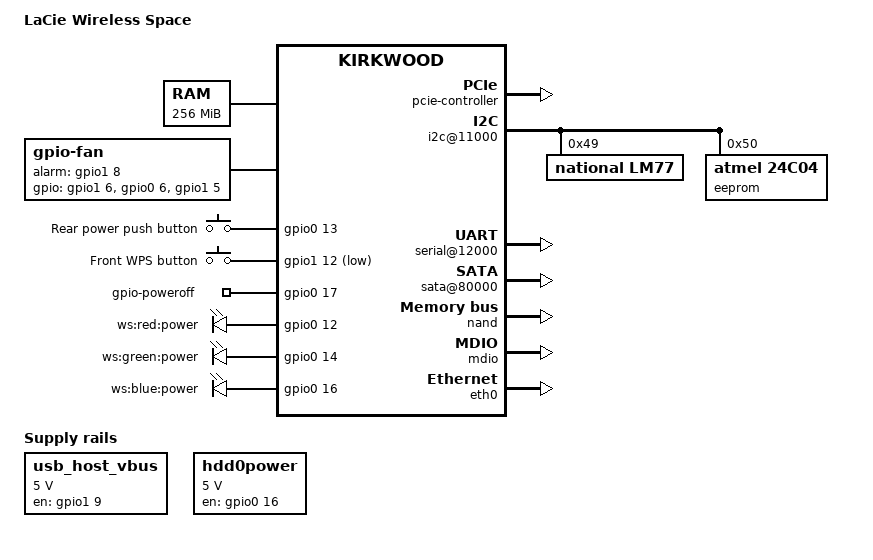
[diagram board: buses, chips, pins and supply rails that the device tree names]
/*
 * Device Tree file for LaCie Wireless Space
 *
 * Copyright (C) 2014
 *
 * Maxime Hadjinlian <maxime.hadjinlian@gmail.com>
 *
 * This file is licensed under the terms of the GNU General Public
 * License version 2.  This program is licensed "as is" without any
 * warranty of any kind, whether express or implied.
*/

/dts-v1/;

#include "kirkwood.dtsi"
#include "kirkwood-6281.dtsi"
#include <dt-bindings/input/input.h>
#include <dt-bindings/gpio/gpio.h>

/ {
	model = "LaCie Wireless Space";
	compatible = "lacie,wireless-space", "marvell,kirkwood-88f6281", "marvell,kirkwood";

	memory {
		device_type = "memory";
		reg = <0x00000000 0x10000000>; /* 256MB */
	};

	chosen {
		bootargs = "console=ttyS0,115200n8";
		stdout-path = &uart0;
	};

	mbus {
		pcie-controller {
			status = "okay";
			pcie@1,0 {
				status = "okay";
			};
		};
	};

	ocp@f1000000 {
		i2c@11000 {
			/*
			 * i2c addr | chip	 | description
			 * 0x49     | LM77CIM-3    | temperature sensor
			 * 0x50     | HT24LC04     | eeprom (512B)
			 */
			status = "okay";

			lm77@49 {
				compatible = "national,lm77";
				reg = <0x49>;
			};

			eeprom@50 {
				compatible = "atmel,24c04";
				pagesize = <16>;
				reg = <0x50>;
			};
		};

		serial@12000 {
			status = "okay";
		};

		sata@80000 {
			status = "okay";
			nr-ports = <1>;
		};

		gpio-fan {
			status = "okay";
			compatible = "gpio-fan";
			pinctrl-0 = <&pmx_fanctrl_37 &pmx_fanctrl_7 &pmx_fanctrl_36
				     &pmx_fanalarm_39>;
			pinctrl-names = "default";
			alarm-gpios = <&gpio1 8 GPIO_ACTIVE_HIGH>;
			gpios = <&gpio1 6 GPIO_ACTIVE_HIGH
				 &gpio0 6 GPIO_ACTIVE_HIGH
				 &gpio1 5 GPIO_ACTIVE_HIGH>;
			gpio-fan,speed-map = <    0 0
					       1220 1
					       1325 2
					       1700 4
					       2000 3
					       3200 5
					       3800 6
					       4900 7
					       5400 8 >;
		};

		pinctrl: pin-controller@10000 {
			pmx_usb_power_enable: pmx-usb-power-enable {
				marvell,pins = "mpp14";
				marvell,function = "gpio";
			};
			pmx_fanctrl_7: pmx-fanctrl-7 {
				marvell,pins = "mpp7";
				marvell,function = "gpio";
			};
			pmx_fanctrl_36: pmx-fanctrl-36 {
				marvell,pins = "mpp36";
				marvell,function = "gpio";
			};
			pmx_fanctrl_37: pmx-fanctrl-37 {
				marvell,pins = "mpp37";
				marvell,function = "gpio";
			};
			pmx_fanalarm_39: pmx-fanalarm-39 {
				marvell,pins = "mpp39";
				marvell,function = "gpio";
			};
		};
	};

	dsa@0 {
		compatible = "marvell,dsa";
		#address-cells = <2>;
		#size-cells = <0>;

		dsa,ethernet = <&eth0port>;
		dsa,mii-bus = <&mdio>;

		switch@0 {
			#address-cells = <1>;
			#size-cells = <0>;
			reg = <0 0>; /* MDIO address 0, switch 0 in tree */

			port@0 {
				reg = <0>;
				label = "lan1";
			};

			port@1 {
				reg = <1>;
				label = "lan2";
			};

			port@2 {
				reg = <2>;
				label = "lan3";
			};

			port@3 {
				reg = <3>;
				label = "lan4";
			};

			port@4 {
				reg = <4>;
				label = "cpu";
			};
		};
	};

	gpio-keys {
		compatible = "gpio-keys";
		#address-cells = <1>;
		#size-cells = <0>;

		button@0 {
			label = "Rear power push button";
			linux,code = <KEY_POWER>;
			gpios = <&gpio0 13 GPIO_ACTIVE_HIGH>;
			debounce-interval = <5>;
		};
		button@1{
			label = "Front WPS button";
			linux,code = <KEY_WLAN>;
			gpios = <&gpio1 12 GPIO_ACTIVE_LOW>;
			debounce-interval = <5>;
		};

	};

	gpio-poweroff {
		compatible = "gpio-poweroff";
		gpios = <&gpio0 17 GPIO_ACTIVE_HIGH>;
	};

	gpio-leds {
		compatible = "gpio-leds";

		red-front {
			label = "ws:red:power";
			gpios = <&gpio0 12 GPIO_ACTIVE_HIGH>;
		};
		green-front {
			label = "ws:green:power";
			gpios = <&gpio0 14 GPIO_ACTIVE_HIGH>;
			linux,default-trigger = "ide-disk";
		};
		blue-front {
			label = "ws:blue:power";
			gpios = <&gpio0 16 GPIO_ACTIVE_HIGH>;
			linux,default-trigger = "ide-disk";
		};

	};

	regulators {
		compatible = "simple-bus";
		#address-cells = <1>;
		#size-cells = <0>;
		pinctrl-0 = <&pmx_usb_power_enable>;
		pinctrl-names = "default";

		usb_host_vbus: regulator@1 {
			compatible = "regulator-fixed";
			reg = <1>;
			regulator-name = "USB Host Vbus";
			regulator-min-microvolt = <5000000>;
			regulator-max-microvolt = <5000000>;
			enable-active-high;
			regulator-always-on;
			regulator-boot-on;
			gpio = <&gpio1 9 GPIO_ACTIVE_HIGH>;
		};

		regulator@2 {
			compatible = "regulator-fixed";
			reg = <2>;
			regulator-name = "hdd0power";
			regulator-min-microvolt = <5000000>;
			regulator-max-microvolt = <5000000>;
			enable-active-high;
			regulator-always-on;
			regulator-boot-on;
			gpio = <&gpio0 16 GPIO_ACTIVE_HIGH>;
		};
	};
};

&nand {
	/* Total size : 128MB */
	status = "okay";

	partition@0 {
		label = "u-boot";
		reg = <0x0000000 0x100000>; /* 1MB */
	};

	partition@100000 {
		label = "uImage";
		reg = <0x0100000 0x400000>; /* 4MB */
	};

	partition@500000 {
		label = "initrd";
		reg = <0x0500000 0x1000000>; /* 16MB */
	};

	partition@1500000 {
		label = "root";
		reg = <0x01500000 0x6b00000>; /* 107MB */
	};
};

&mdio {
	status = "okay";

	/* ethphy0: ethernet-phy@0 { */
		/* device_type = "ethernet-phy"; */
		/* reg = <0>; */
	/* }; */
};

/* &eth0 { */
/* 	status = "okay"; */
/* 	ethernet0-port@0 { */
/* 		phy-handle = <&ethphy0>; */
/* 	}; */
/* }; */


/* eth0 is connected to a Marvell 88E6171 switch, without a PHY. So set
 * fixed speed and duplex. */
&eth0 {
    status = "okay";

    ethernet0-port@0 {
        speed = <1000>;
        duplex = <1>;
    };
};
